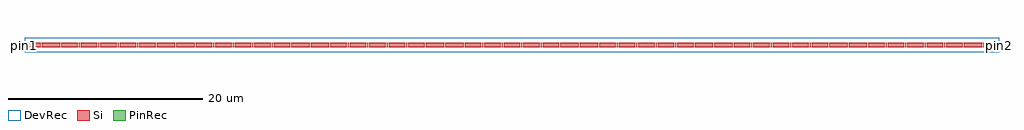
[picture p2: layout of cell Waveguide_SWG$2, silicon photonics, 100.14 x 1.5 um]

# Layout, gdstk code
import gdstk
lib = gdstk.Library(unit=1e-6, precision=1e-09)
def R(c, l, rs):  # rectangles x0, y0, x1, y1
    for r in rs: c.add(gdstk.rectangle(r[:2], r[2:], *l))
def A(c, l, x, y, w, h, nx, ny, dx, dy):  # array of equal rectangles
    R(c, l, [(x+i*dx, y+j*dy, x+i*dx+w, y+j*dy+h) for i in range(nx) for j in range(ny)])
Si = (1, 0)
PinRec = (1, 10)
DevRec = (68, 0)

waveguide_swg_2 = lib.new_cell('Waveguide_SWG$2')
A(waveguide_swg_2, Si, -0.07, -0.25, 0.14, 0.5, 501, 1, 0.2, 0)
R(waveguide_swg_2, DevRec, [(0,-0.75,100,0.75)])
waveguide_swg_2.add(gdstk.FlexPath([(0.01,0),(-0.01,0)], 0.5, ends="flush", simple_path=True, layer=1, datatype=10))  # PinRec
waveguide_swg_2.add(gdstk.FlexPath([(99.99,0),(100.01,0)], 0.5, ends="flush", simple_path=True, layer=1, datatype=10))  # PinRec
waveguide_swg_2.add(gdstk.Label('pin1', (0,0), layer=1, texttype=10))
waveguide_swg_2.add(gdstk.Label('pin2', (100,0), layer=1, texttype=10))
waveguide_swg_2.add(gdstk.Label('Lumerical_INTERCONNECT_library=Design kits/ebeam_v1.2', (0,0), layer=68, texttype=0))
waveguide_swg_2.add(gdstk.Label('Component=NO_MODEL_AVAILABLE', (10,0), layer=68, texttype=0))
waveguide_swg_2.add(gdstk.Label('Spice_param:length=100.000u target_period=0.200u grating_period=0.200u wg_width=0.500u duty=0.700 ', (11.111,-0.28), layer=68, texttype=0))

lib.write_gds('Waveguide_SWG_2.gds')
